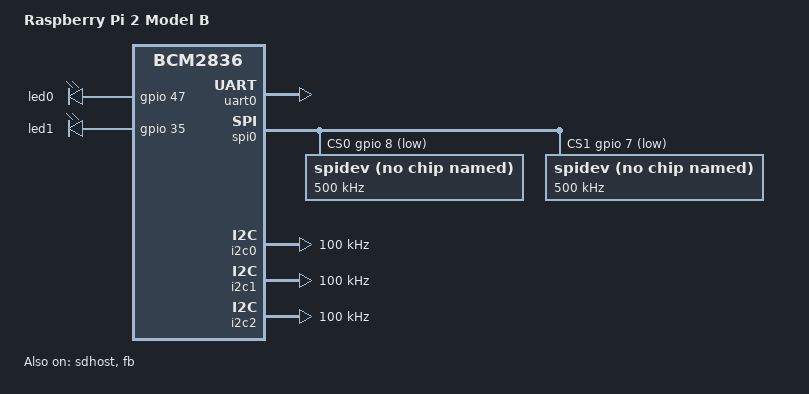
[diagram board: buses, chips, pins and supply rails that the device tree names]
/dts-v1/;
#include "bcm2835.dtsi"

/ {
	compatible = "raspberrypi,2-model-b", "brcm,bcm2836";
	model = "Raspberry Pi 2 Model B";

	soc {
		ranges = <0x7e000000 0x3f000000 0x1000000>,
			 <0x40000000 0x40000000 0x00001000>;
		dma-ranges = <0xc0000000 0x00000000 0x3f000000>;

		/delete-node/ timer@7e003000;
		/delete-node/ arm-pmu;

		arm-pmu {
			compatible = "arm,cortex-a7-pmu";
			interrupt-parent = <&local_intc>;
			interrupts = <9>;
		};
	};

	syscon@40000000 {
	       compatible = "brcm,bcm2836-arm-local", "syscon";
	       reg = <0x40000000 0x100>;
	};

	timer {
		interrupt-parent = <&local_intc>;
		compatible = "arm,armv7-timer";
		clock-frequency = <19200000>;
		interrupts = <0>, /* PHYS_SECURE_PPI */
			     <1>, /* PHYS_NONSECURE_PPI */
			     <3>, /* VIRT_PPI */
			     <2>; /* HYP_PPI */
		always-on;

		clock {
			compatible = "brcm,bcm2836-local-timer-clk";
		};
	};

	local_intc: local_intc {
		compatible = "brcm,bcm2836-l1-intc";
		reg = <0x40000000 0x100>;
		interrupt-controller;
		#interrupt-cells = <1>;
		interrupt-parent = <&local_intc>;
	};

	cpus: cpus {
		#address-cells = <1>;
		#size-cells = <0>;

		v7_cpu0: cpu@0 {
			device_type = "cpu";
			compatible = "arm,cortex-a7";
			reg = <0xf00>;
			clock-frequency = <800000000>;
		};

		v7_cpu1: cpu@1 {
			device_type = "cpu";
			compatible = "arm,cortex-a7";
			reg = <0xf01>;
			clock-frequency = <800000000>;
		};

		v7_cpu2: cpu@2 {
			device_type = "cpu";
			compatible = "arm,cortex-a7";
			reg = <0xf02>;
			clock-frequency = <800000000>;
		};

		v7_cpu3: cpu@3 {
			device_type = "cpu";
			compatible = "arm,cortex-a7";
			reg = <0xf03>;
			clock-frequency = <800000000>;
		};
	};
};

&intc {
	compatible = "brcm,bcm2836-armctrl-ic";
	reg = <0x7e00b200 0x200>;
	interrupt-parent = <&local_intc>;
	interrupts = <8>;
};

/* from bcm2709-rpi-2-b.dts */

&gpio {
	sdhost_pins: sdhost_pins {
		brcm,pins = <48 49 50 51 52 53>;
		brcm,function = <4>; /* alt0 */
	};

	spi0_pins: spi0_pins {
		brcm,pins = <9 10 11>;
		brcm,function = <4>; /* alt0 */
	};

	spi0_cs_pins: spi0_cs_pins {
		brcm,pins = <8 7>;
		brcm,function = <1>; /* output */
	};

	i2c0_pins: i2c0 {
		brcm,pins = <0 1>;
		brcm,function = <4>;
	};

	i2c1_pins: i2c1 {
		brcm,pins = <2 3>;
		brcm,function = <4>;
	};

	i2s_pins: i2s {
		brcm,pins = <18 19 20 21>;
		brcm,function = <4>; /* alt0 */
	};
};

&sdhost {
	pinctrl-names = "default";
	pinctrl-0 = <&sdhost_pins>;
	bus-width = <4>;
	status = "okay";
};

&fb {
	status = "okay";
};

&uart0 {
	status = "okay";
};

&spi0 {
	pinctrl-names = "default";
	pinctrl-0 = <&spi0_pins &spi0_cs_pins>;
	cs-gpios = <&gpio 8 1>, <&gpio 7 1>;

	spidev@0{
		compatible = "spidev";
		reg = <0>;	/* CE0 */
		#address-cells = <1>;
		#size-cells = <0>;
		spi-max-frequency = <500000>;
	};

	spidev@1{
		compatible = "spidev";
		reg = <1>;	/* CE1 */
		#address-cells = <1>;
		#size-cells = <0>;
		spi-max-frequency = <500000>;
	};
};

&i2c0 {
	pinctrl-names = "default";
	pinctrl-0 = <&i2c0_pins>;
	clock-frequency = <100000>;
};

&i2c1 {
	pinctrl-names = "default";
	pinctrl-0 = <&i2c1_pins>;
	clock-frequency = <100000>;
};

&i2c2 {
	clock-frequency = <100000>;
};

&i2s {
	#sound-dai-cells = <0>;
	pinctrl-names = "default";
	pinctrl-0 = <&i2s_pins>;
};

&leds {
	act_led: act {
		label = "led0";
		linux,default-trigger = "mmc0";
		gpios = <&gpio 47 0>;
	};

	pwr_led: pwr {
		label = "led1";
		linux,default-trigger = "input";
		gpios = <&gpio 35 0>;
	};
};

/ {
	__overrides__ {
		uart0 = <&uart0>,"status";
		uart0_clkrate = <&clk_uart0>,"clock-frequency:0";
		i2s = <&i2s>,"status";
		spi = <&spi0>,"status";
		i2c0 = <&i2c0>,"status";
		i2c1 = <&i2c1>,"status";
		i2c2_iknowwhatimdoing = <&i2c2>,"status";
		i2c0_baudrate = <&i2c0>,"clock-frequency:0";
		i2c1_baudrate = <&i2c1>,"clock-frequency:0";
		i2c2_baudrate = <&i2c2>,"clock-frequency:0";
		core_freq = <&clk_core>,"clock-frequency:0";

		act_led_gpio = <&act_led>,"gpios:4";
		act_led_activelow = <&act_led>,"gpios:8";
		act_led_trigger = <&act_led>,"linux,default-trigger";

		pwr_led_gpio = <&pwr_led>,"gpios:4";
		pwr_led_activelow = <&pwr_led>,"gpios:8";
		pwr_led_trigger = <&pwr_led>,"linux,default-trigger";

		audio = <&audio>,"status";
		random = <&random>,"status";
	};
};
